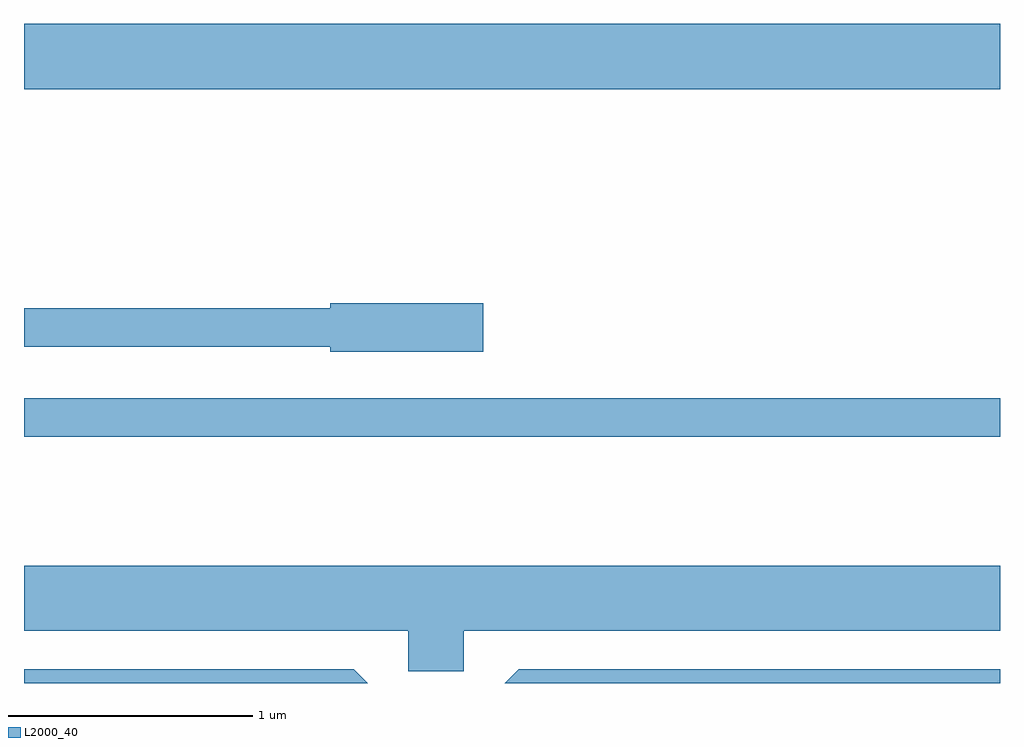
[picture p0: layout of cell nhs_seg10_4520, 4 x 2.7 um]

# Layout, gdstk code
import gdstk
lib = gdstk.Library(unit=1e-6, precision=1e-09)
def R(c, l, rs):  # rectangles x0, y0, x1, y1
    for r in rs: c.add(gdstk.rectangle(r[:2], r[2:], *l))
def P(c, l, *ps):  # polygons
    for p in ps: c.add(gdstk.Polygon(p, *l))
L2000_40 = (2000, 40)

nhs_seg10_4520 = lib.new_cell('nhs_seg10_4520')
R(nhs_seg10_4520, L2000_40, [(317.611,2183.531,321.611,2183.689), (317.611,2184.956,321.611,2185.224)])
P(nhs_seg10_4520, L2000_40, [(319.494,2184.079),(318.866,2184.079),(318.866,2184.059),(317.611,2184.059),(317.611,2183.901),(318.866,2183.901),(318.866,2183.881),(319.494,2183.881)],
  [(319.414,2182.736),(321.611,2182.736),(321.611,2183.004),(317.611,2183.004),(317.611,2182.736),(319.186,2182.736),(319.186,2182.571),(319.414,2182.571)],
  [(321.611,2182.579),(319.639,2182.579),(319.582,2182.522),(321.611,2182.522)],
  [(318.962,2182.579),(317.611,2182.579),(317.611,2182.522),(319.019,2182.522)])

lib.write_gds('nhs_seg10_4520.gds')
